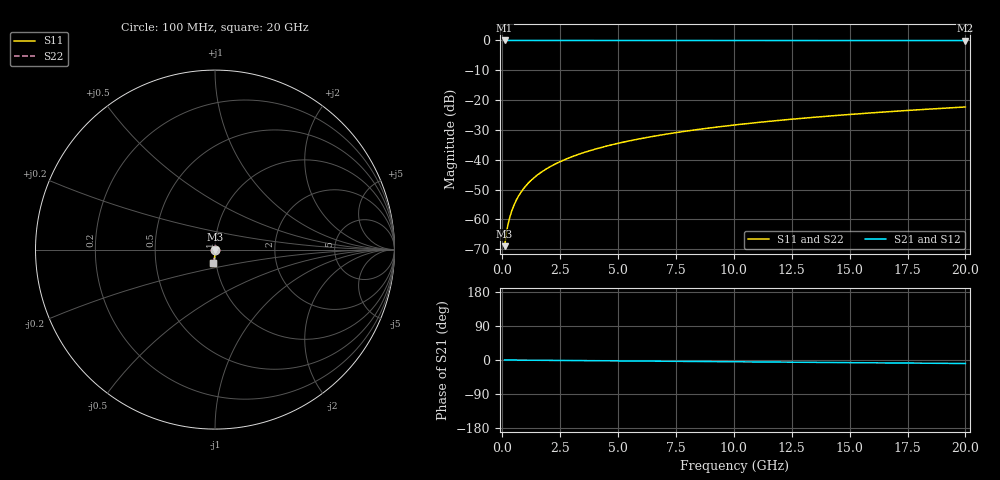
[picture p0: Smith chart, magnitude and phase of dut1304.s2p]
! Touchstone file exported from HFSS 2026.1.0
!  File:  C:/ffzhzh/LocalFiles/Ansys_Project_Files/temp_train_TSV_1304_1783194814_55132.aedt
!  Generated:  03:55:01 AM Jul  5, 2026
!  Design:  TSV
!  Project:  temp_train_TSV_1304_1783194814_55132
! Variables:
!  h_bsmrdl = 2um
!  h_ox = 20um
!  h_rdl = 5um
!  h_sub = 87.92um
!  h_tmrdl = 5um
!  h_tsv = 87.92um
!  h_via = 3um
!  l_bsmrdl = 300um
!  l_sub = 420.2um
!  l_tmrdl = 200um
!  m_sub = 200um
!  pitch = 27.04um
!  r_tsv = 10.1um
!  s_tmrdl = 10um
!  w_bsmrdl = 18um
!  w_sub = 500um
!  w_tmrdl = 12um
!  x_tsv_center1 = 206um
!  x_tsv_center2 = 524um
!  x_tsv_center3 = 736um
!  x_tsv_center4 = 1054um
!  x_tsv_center5 = 1266um
!  x_tsv_center6 = 1584um
# GHz S MA R 50.000000
! Terminal data exported
! Port[1] = TSV1_1_T1
! Port[2] = TSV1_1_T2
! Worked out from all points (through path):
!   200 points, 100 MHz to 20 GHz, reference 50 ohm
!   highest |S21| = 0.00 dB at 100 MHz (marker M1); lowest = 0.0 dB at 20 GHz (marker M2)
!   group delay of S21, straight-line fit = 1.28 ps
!   lowest |S11| = -69.0 dB at 100 MHz (marker M3), VSWR 1.00, Z = 50 - j0.0323 ohm
!   |S11| at or under -10 dB: start of sweep to end of sweep
!   |S22| runs from -69.0 to -22.3 dB; largest |S21 - S12| = 5.4e-15
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0.1  0.0003559 -65.0  0.9998 -0.0  0.9998 -0.0  0.0003559 -65.0
! Gamma 0 0 0 0
! Port Impedance 50 0 50 0
0.2  0.000673 -75.4  0.9998 -0.1  0.9998 -0.1  0.000673 -75.4
0.3  0.001009 -78.6  0.9998 -0.1  0.9998 -0.1  0.001009 -78.6
0.4  0.001357 -80.2  0.9998 -0.2  0.9998 -0.2  0.001357 -80.2
0.5  0.001716 -81.2  0.9997 -0.2  0.9997 -0.2  0.001716 -81.2
0.7  0.002455 -82.5  0.9997 -0.3  0.9997 -0.3  0.002455 -82.5
0.8  0.002831 -83.0  0.9996 -0.4  0.9996 -0.4  0.002831 -83.0
1  0.003588 -83.9  0.9996 -0.5  0.9996 -0.5  0.003588 -83.9
1.2  0.004349 -84.7  0.9995 -0.6  0.9995 -0.6  0.004349 -84.7
1.4  0.00511 -85.3  0.9995 -0.7  0.9995 -0.7  0.00511 -85.3
1.7  0.006253 -86.1  0.9995 -0.8  0.9995 -0.8  0.006253 -86.1
2  0.007395 -86.7  0.9994 -0.9  0.9994 -0.9  0.007395 -86.7
2.7  0.01006 -87.8  0.9993 -1.3  0.9993 -1.3  0.01006 -87.8
3.5  0.01311 -88.6  0.9992 -1.6  0.9992 -1.6  0.01311 -88.6
4.2  0.01579 -89.2  0.9991 -2.0  0.9991 -2.0  0.01579 -89.2
5  0.01887 -89.8  0.999 -2.3  0.999 -2.3  0.01887 -89.8
6.8  0.02581 -91.0  0.9987 -3.2  0.9987 -3.2  0.02581 -91.0
8.3  0.0316 -91.9  0.9984 -3.9  0.9984 -3.9  0.0316 -91.9
10.1  0.03856 -92.9  0.998 -4.7  0.998 -4.7  0.03856 -92.9
13.4  0.0513 -94.7  0.9973 -6.2  0.9973 -6.2  0.0513 -94.7
16.7  0.06401 -96.3  0.9964 -7.7  0.9964 -7.7  0.06401 -96.3
20  0.07669 -97.9  0.9953 -9.2  0.9953 -9.2  0.07669 -97.9
